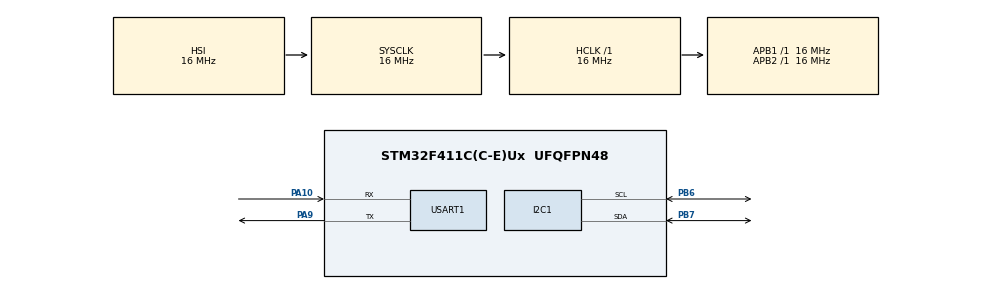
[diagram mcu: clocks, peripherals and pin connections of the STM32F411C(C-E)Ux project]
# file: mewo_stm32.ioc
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Mcu.Family=STM32F4
Mcu.Name=STM32F411C(C-E)Ux
Mcu.Package=UFQFPN48
NVIC.PriorityGroup=NVIC_PRIORITYGROUP_4
PA10.Mode=Asynchronous
PA10.Signal=USART1_RX
PA9.Mode=Asynchronous
PA9.Signal=USART1_TX
PB6.Mode=I2C
PB6.Signal=I2C1_SCL
PB7.Mode=I2C
PB7.Signal=I2C1_SDA
PC14-OSC32_IN.Mode=LSE-External-Oscillator
PC14-OSC32_IN.Signal=RCC_OSC32_IN
PC15-OSC32_OUT.Mode=LSE-External-Oscillator
PC15-OSC32_OUT.Signal=RCC_OSC32_OUT
PH0\ -\ OSC_IN.Mode=HSE-External-Oscillator
PH0\ -\ OSC_IN.Signal=RCC_OSC_IN
PH1\ -\ OSC_OUT.Mode=HSE-External-Oscillator
PH1\ -\ OSC_OUT.Signal=RCC_OSC_OUT
ProjectManager.HeapSize=0x200
ProjectManager.StackSize=0x400
ProjectManager.TargetToolchain=Makefile
RCC.AHBFreq_Value=16000000
RCC.APB1Freq_Value=16000000
RCC.APB2Freq_Value=16000000
RCC.CortexFreq_Value=16000000
RCC.HSE_VALUE=25000000
RCC.HSI_VALUE=16000000
RCC.SYSCLKFreq_VALUE=16000000
RCC.VCOOutputFreq_Value=192000000
USART1.VirtualMode=VM_ASYNC
board=custom

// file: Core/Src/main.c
/* USER CODE BEGIN Header */
/**
  ******************************************************************************
  * @file           : main.c
  * @brief          : Main program body
  ******************************************************************************
  * @attention
  *
  * Copyright (c) 2024 STMicroelectronics.
  * All rights reserved.
  *
  * This software is licensed under terms that can be found in the LICENSE file
  * in the root directory of this software component.
  * If no LICENSE file comes with this software, it is provided AS-IS.
  *
  ******************************************************************************
  */
/* USER CODE END Header */
#include "main.h"

/* USER CODE BEGIN Includes */
#include <string.h>
#include "april_uart_logger.h"
#include "april_ssd1315.h"
#include "mewo.h"

/* USER CODE END Includes */

I2C_HandleTypeDef hi2c1;

UART_HandleTypeDef huart1;

/* USER CODE BEGIN PV */
const char *welcome_message = "hi! ʕ •ᴥ•ʔ. welcome to the mewo cat simulator!\r\n";

april_logger logger = {};
april_ssd1315 ssd1315 = {};

/* USER CODE END PV */

void SystemClock_Config(void);
static void MX_GPIO_Init(void);
static void MX_I2C1_Init(void);
static void MX_USART1_UART_Init(void);

int main(void)
{

  /* MCU Configuration--------------------------------------------------------*/

  /* Reset of all peripherals, Initializes the Flash interface and the Systick. */
  HAL_Init();

  /* Configure the system clock */
  SystemClock_Config();

  /* Initialize all configured peripherals */
  MX_GPIO_Init();
  MX_I2C1_Init();
  MX_USART1_UART_Init();
  /* USER CODE BEGIN 2 */
  HAL_UART_Transmit(&huart1, (uint8_t*) welcome_message, strlen(welcome_message), 1000);

  mewo_config m_conf = {
      .name = "Mewo",
      .wakeup_time_ms = -1,
      .sleep_time_ms = -1
  };
  mewo mewo = {};
  mewo_init(&mewo, &m_conf);

  april_ssd1315_init(&ssd1315, &logger, &hi2c1);
  april_ssd1315_clear(&ssd1315);
  april_ssd1315_refresh(&ssd1315);

  /* USER CODE END 2 */

  /* Infinite loop */
  /* USER CODE BEGIN WHILE */
  while (1)
  {
    mewo_tick(&mewo);

    for (int row_index = 0; row_index < MEWO_DISPLAY_ROWS; row_index++) {
        for (int col_index = 0; col_index < MEWO_DISPLAY_COLS; col_index++) {
            int x = col_index;
            int y = MEWO_DISPLAY_ROWS - row_index - 1;
            bool pixel = mewo_get_pixel(&mewo, x, y);

            april_ssd1315_set_pixel(&ssd1315, col_index, row_index, pixel);
        }
    }

    april_ssd1315_refresh(&ssd1315);

    /* USER CODE END WHILE */

  }
}

void SystemClock_Config(void)
{
  RCC_OscInitTypeDef RCC_OscInitStruct = {0};
  RCC_ClkInitTypeDef RCC_ClkInitStruct = {0};

  /** Configure the main internal regulator output voltage
  */
  __HAL_RCC_PWR_CLK_ENABLE();
  __HAL_PWR_VOLTAGESCALING_CONFIG(PWR_REGULATOR_VOLTAGE_SCALE1);

  /** Initializes the RCC Oscillators according to the specified parameters
  * in the RCC_OscInitTypeDef structure.
  */
  RCC_OscInitStruct.OscillatorType = RCC_OSCILLATORTYPE_HSI;
  RCC_OscInitStruct.HSIState = RCC_HSI_ON;
  RCC_OscInitStruct.HSICalibrationValue = RCC_HSICALIBRATION_DEFAULT;
  RCC_OscInitStruct.PLL.PLLState = RCC_PLL_NONE;
  if (HAL_RCC_OscConfig(&RCC_OscInitStruct) != HAL_OK)
  {
    Error_Handler();
  }

  /** Initializes the CPU, AHB and APB buses clocks
  */
  RCC_ClkInitStruct.ClockType = RCC_CLOCKTYPE_HCLK|RCC_CLOCKTYPE_SYSCLK
                              |RCC_CLOCKTYPE_PCLK1|RCC_CLOCKTYPE_PCLK2;
  RCC_ClkInitStruct.SYSCLKSource = RCC_SYSCLKSOURCE_HSI;
  RCC_ClkInitStruct.AHBCLKDivider = RCC_SYSCLK_DIV1;
  RCC_ClkInitStruct.APB1CLKDivider = RCC_HCLK_DIV1;
  RCC_ClkInitStruct.APB2CLKDivider = RCC_HCLK_DIV1;

  if (HAL_RCC_ClockConfig(&RCC_ClkInitStruct, FLASH_LATENCY_0) != HAL_OK)
  {
    Error_Handler();
  }
}

static void MX_I2C1_Init(void)
{

  hi2c1.Instance = I2C1;
  hi2c1.Init.ClockSpeed = 100000;
  hi2c1.Init.DutyCycle = I2C_DUTYCYCLE_2;
  hi2c1.Init.OwnAddress1 = 0;
  hi2c1.Init.AddressingMode = I2C_ADDRESSINGMODE_7BIT;
  hi2c1.Init.DualAddressMode = I2C_DUALADDRESS_DISABLE;
  hi2c1.Init.OwnAddress2 = 0;
  hi2c1.Init.GeneralCallMode = I2C_GENERALCALL_DISABLE;
  hi2c1.Init.NoStretchMode = I2C_NOSTRETCH_DISABLE;
  if (HAL_I2C_Init(&hi2c1) != HAL_OK)
  {
    Error_Handler();
  }

}

static void MX_USART1_UART_Init(void)
{

  huart1.Instance = USART1;
  huart1.Init.BaudRate = 115200;
  huart1.Init.WordLength = UART_WORDLENGTH_8B;
  huart1.Init.StopBits = UART_STOPBITS_1;
  huart1.Init.Parity = UART_PARITY_NONE;
  huart1.Init.Mode = UART_MODE_TX_RX;
  huart1.Init.HwFlowCtl = UART_HWCONTROL_NONE;
  huart1.Init.OverSampling = UART_OVERSAMPLING_16;
  if (HAL_UART_Init(&huart1) != HAL_OK)
  {
    Error_Handler();
  }

}

static void MX_GPIO_Init(void)
{

  /* GPIO Ports Clock Enable */
  __HAL_RCC_GPIOC_CLK_ENABLE();
  __HAL_RCC_GPIOH_CLK_ENABLE();
  __HAL_RCC_GPIOA_CLK_ENABLE();
  __HAL_RCC_GPIOB_CLK_ENABLE();

}

void Error_Handler(void)
{
  __disable_irq();
  while (1)
  {
  }
}
